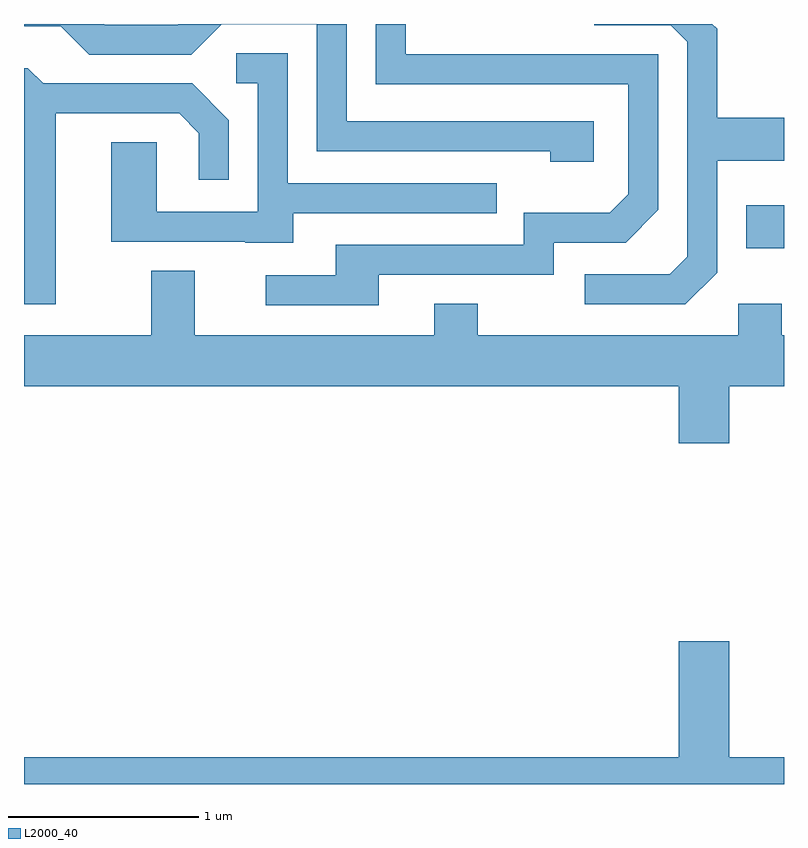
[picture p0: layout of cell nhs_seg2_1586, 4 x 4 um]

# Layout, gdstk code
import gdstk
lib = gdstk.Library(unit=1e-6, precision=1e-09)
def R(c, l, rs):  # rectangles x0, y0, x1, y1
    for r in rs: c.add(gdstk.rectangle(r[:2], r[2:], *l))
def P(c, l, *ps):  # polygons
    for p in ps: c.add(gdstk.Polygon(p, *l))
L2000_40 = (2000, 40)

nhs_seg2_1586 = lib.new_cell('nhs_seg2_1586')
R(nhs_seg2_1586, L2000_40, [(235.411,1024.621,235.611,1024.849)])
P(nhs_seg2_1586, L2000_40, [(235.259,1024.494),(235.259,1025.081),(235.611,1025.081),(235.611,1025.309),(235.259,1025.309),(235.259,1025.777),(235.234,1025.802),(234.613,1025.802),(234.613,1025.796),(235.014,1025.796),(235.101,1025.709),(235.101,1024.577),(235.009,1024.484),(234.563,1024.484),(234.563,1024.326),(235.092,1024.326)],
  [(233.479,1024.481),(234.399,1024.481),(234.399,1024.651),(234.777,1024.651),(234.949,1024.824),(234.949,1025.644),(233.619,1025.644),(233.619,1025.802),(233.461,1025.802),(233.461,1025.486),(234.791,1025.486),(234.791,1024.907),(234.694,1024.809),(234.241,1024.809),(234.241,1024.639),(233.251,1024.639),(233.251,1024.479),(232.883,1024.479),(232.883,1024.321),(233.479,1024.321)],
  [(234.609,1025.289),(233.309,1025.289),(233.309,1025.802),(232.422,1025.802),(232.419,1025.799),(232.037,1025.799),(232.034,1025.802),(231.611,1025.802),(231.611,1025.791),(231.804,1025.791),(231.954,1025.641),(232.492,1025.641),(232.652,1025.801),(233.151,1025.801),(233.151,1025.131),(234.381,1025.131),(234.381,1025.076),(234.609,1025.076)],
  [(233.029,1024.806),(234.098,1024.806),(234.098,1024.964),(232.999,1024.964),(232.999,1025.649),(232.728,1025.649),(232.728,1025.491),(232.841,1025.491),(232.841,1024.814),(232.309,1024.814),(232.309,1025.179),(232.071,1025.179),(232.071,1024.656),(232.775,1024.656),(232.775,1024.651),(233.029,1024.651)],
  [(231.779,1025.331),(232.429,1025.331),(232.531,1025.228),(232.531,1024.983),(232.689,1024.983),(232.689,1025.296),(232.497,1025.489),(231.712,1025.489),(231.632,1025.569),(231.611,1025.569),(231.611,1024.326),(231.779,1024.326)],
  [(235.324,1023.896),(235.611,1023.896),(235.611,1024.164),(235.599,1024.164),(235.599,1024.329),(235.371,1024.329),(235.371,1024.164),(233.999,1024.164),(233.999,1024.329),(233.771,1024.329),(233.771,1024.164),(232.509,1024.164),(232.509,1024.504),(232.281,1024.504),(232.281,1024.164),(231.611,1024.164),(231.611,1023.896),(235.056,1023.896),(235.056,1023.596),(235.324,1023.596)],
  [(235.611,1021.944),(235.324,1021.944),(235.324,1022.554),(235.056,1022.554),(235.056,1021.944),(231.611,1021.944),(231.611,1021.802),(235.611,1021.802)])

lib.write_gds('nhs_seg2_1586.gds')
